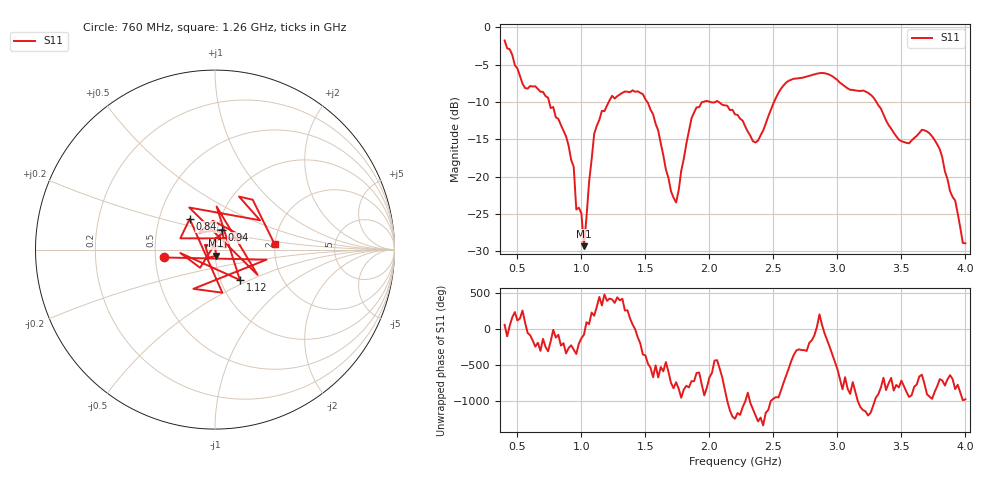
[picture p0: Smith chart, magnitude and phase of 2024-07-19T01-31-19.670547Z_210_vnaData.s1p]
!Created with skrf (http://scikit-rf.org).
# Hz S RI R 50.0
!freq ReS11 ImS11
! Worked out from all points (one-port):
!   181 points, 400 MHz to 4 GHz, reference 50 ohm
!   lowest |S11| = -29.3 dB at 1.02 GHz (marker M1), VSWR 1.07, Z = 50.6 - j3.39 ohm
!   |S11| at or under -10 dB: 748.2 MHz to 1.214 GHz (465.4 MHz wide, 47.4 % of centre); 1.515 GHz to 1.948 GHz (432.7 MHz wide, 25 % of centre); 3.305 GHz to end of sweep (the widest 3 of 5)
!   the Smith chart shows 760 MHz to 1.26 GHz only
!   S11 on the Smith chart (normalised r, x): 760 MHz: 0.56, -0.05; 840 MHz: 0.71, +0.26; 940 MHz: 1.05, +0.23; 1.12 GHz: 1.24, -0.44; 1.26 GHz: 1.99, +0.13
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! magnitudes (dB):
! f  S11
! 400 MHz  -1.7
! 560 MHz  -8.1
! 760 MHz  -10.8
! 840 MHz  -13.1
! 860 MHz  -13.9
! 940 MHz  -18.7
! 960 MHz  -24.4
! 1 GHz  -25.0
! 1.02 GHz  -29.3
! 1.1 GHz  -14.3
! 1.12 GHz  -13.2
! 1.26 GHz  -9.5
! 1.3 GHz  -9.0
! 1.48 GHz  -8.9
! 1.6 GHz  -13.8
! 1.7 GHz  -22.0
! 1.76 GHz  -21.8
! 1.86 GHz  -12.2
! 1.9 GHz  -10.7
! 2.2 GHz  -11.7
! 2.36 GHz  -15.4
! 2.66 GHz  -6.9
! 3.1 GHz  -8.4
! 3.26 GHz  -9.0
! 3.56 GHz  -15.5
! 3.66 GHz  -13.7
! 3.78 GHz  -15.7
! 4 GHz  -28.9
